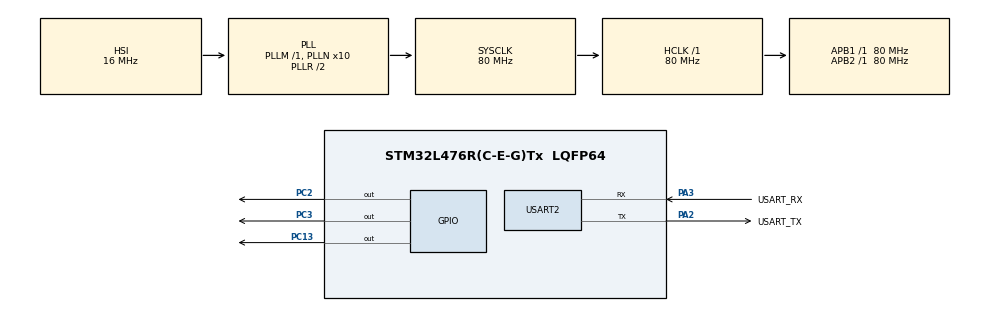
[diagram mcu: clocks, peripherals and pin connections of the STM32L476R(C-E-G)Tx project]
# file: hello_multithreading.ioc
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Mcu.Family=STM32L4
RCC.MSI_VALUE=4000000
RCC.PLLSourceVirtual=RCC_PLLSOURCE_HSI
PA14\ (JTCK-SWCLK).Mode=Serial_Wire
PA2.GPIO_PuPd=GPIO_NOPULL
VP_SYS_VS_tim6.Mode=TIM6
RCC.CortexFreq_Value=80000000
FREERTOS.Tasks01=blink0Task,24,128,StartBlink0Task,Default,NULL,Dynamic,NULL,NULL;blink1Task,24,128,StartBlink1Task,Default,NULL,Dynamic,NULL,NULL
NVIC.TIM6_DAC_IRQn=true\:0\:0\:false\:false\:true\:false\:false\:true
PH0-OSC_IN\ (PH0).Signal=RCC_OSC_IN
PC13.Signal=GPIO_Output
PA3.GPIO_PuPd=GPIO_NOPULL
PC2.Signal=GPIO_Output
PA2.GPIO_Speed=GPIO_SPEED_FREQ_VERY_HIGH
PC15-OSC32_OUT\ (PC15).Signal=RCC_OSC32_OUT
PB3\ (JTDO-TRACESWO).GPIO_Label=SWO
PA14\ (JTCK-SWCLK).GPIO_Label=TCK
PC15-OSC32_OUT\ (PC15).Mode=LSE-External-Oscillator
PA3.GPIO_Speed=GPIO_SPEED_FREQ_VERY_HIGH
PH1-OSC_OUT\ (PH1).Signal=RCC_OSC_OUT
RCC.SYSCLKSource=RCC_SYSCLKSOURCE_PLLCLK
ProjectManager.StackSize=0x400
PB3\ (JTDO-TRACESWO).Signal=SYS_JTDO-SWO
PC14-OSC32_IN\ (PC14).Mode=LSE-External-Oscillator
VP_FREERTOS_VS_CMSIS_V2.Mode=CMSIS_V2
PA14\ (JTCK-SWCLK).Signal=SYS_JTCK-SWCLK
PA3.Mode=Asynchronous
ProjectManager.TargetToolchain=STM32CubeIDE
PA3.GPIO_Mode=GPIO_MODE_AF_PP
RCC.HCLKFreq_Value=80000000
RCC.APB2TimFreq_Value=80000000
PC3.Signal=GPIO_Output
RCC.USBFreq_Value=64000000
RCC.AHBFreq_Value=80000000
RCC.PREFETCH_ENABLE=1
RCC.HSE_VALUE=8000000
board=NUCLEO-L476RG
USART2.VirtualMode-Asynchronous=VM_ASYNC
RCC.VCOOutputFreq_Value=160000000
RCC.APB2Freq_Value=80000000
PA13\ (JTMS-SWDIO).GPIO_Label=TMS
RCC.ADCFreq_Value=64000000
Mcu.Name=STM32L476R(C-E-G)Tx
PA2.Signal=USART2_TX
PA13\ (JTMS-SWDIO).Mode=Serial_Wire
RCC.SYSCLKFreq_VALUE=80000000
Mcu.Package=LQFP64
NVIC.TimeBase=TIM6_DAC_IRQn
PC14-OSC32_IN\ (PC14).Signal=RCC_OSC32_IN
PA2.GPIO_Label=USART_TX
NVIC.TimeBaseIP=TIM6
ProjectManager.HeapSize=0x200
RCC.HSI_VALUE=16000000
NVIC.PriorityGroup=NVIC_PRIORITYGROUP_4
RCC.PLLN=10
RCC.APB1TimFreq_Value=80000000
PA2.Mode=Asynchronous
PA13\ (JTMS-SWDIO).Signal=SYS_JTMS-SWDIO
RCC.APB1Freq_Value=80000000
PA3.GPIO_Label=USART_RX
PA3.Signal=USART2_RX
PA2.GPIO_Mode=GPIO_MODE_AF_PP

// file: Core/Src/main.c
/* USER CODE BEGIN Header */
/**
  ******************************************************************************
  * @file           : main.c
  * @brief          : Main program body
  ******************************************************************************
  * @attention
  *
  * <h2><center>&copy; Copyright (c) 2021 STMicroelectronics.
  * All rights reserved.</center></h2>
  *
  * This software component is licensed by ST under BSD 3-Clause license,
  * the "License"; You may not use this file except in compliance with the
  * License. You may obtain a copy of the License at:
  *                        opensource.org/licenses/BSD-3-Clause
  *
  ******************************************************************************
  */
/* USER CODE END Header */
#include "main.h"
#include "cmsis_os.h"

/* USER CODE BEGIN PTD */
#ifdef __GNUC__
  /* With GCC, small printf (option LD Linker->Libraries->Small printf
     set to 'Yes') calls __io_putchar() */
  #define PUTCHAR_PROTOTYPE int __io_putchar(int ch)
#else
  #define PUTCHAR_PROTOTYPE int fputc(int ch, FILE *f)
#endif /* __GNUC__ */
/* USER CODE END PTD */

UART_HandleTypeDef huart2;

/* Definitions for blink0Task */
osThreadId_t blink0TaskHandle;
const osThreadAttr_t blink0Task_attributes = {
  .name = "blink0Task",
  .stack_size = 128 * 4,
  .priority = (osPriority_t) osPriorityNormal,
};
/* Definitions for blink1Task */
osThreadId_t blink1TaskHandle;
const osThreadAttr_t blink1Task_attributes = {
  .name = "blink1Task",
  .stack_size = 128 * 4,
  .priority = (osPriority_t) osPriorityNormal,
};
/* USER CODE BEGIN PV */
volatile osThreadId_t blink2TaskHandle;
const osThreadAttr_t blink2Task_attributes = {
	.name = "blink2Task",
	.stack_size = 128 * 4,
	.priority = (osPriority_t) osPriorityHigh,
};
/* USER CODE END PV */

void SystemClock_Config(void);
static void MX_GPIO_Init(void);
static void MX_USART2_UART_Init(void);
void StartBlink0Task(void *argument);
void StartBlink1Task(void *argument);

/* USER CODE BEGIN PFP */
void StartBlink2Task(void *argument);
/* USER CODE END PFP */

int main(void)
{

  /* MCU Configuration--------------------------------------------------------*/

  /* Reset of all peripherals, Initializes the Flash interface and the Systick. */
  HAL_Init();

  /* Configure the system clock */
  SystemClock_Config();

  /* Initialize all configured peripherals */
  MX_GPIO_Init();
  MX_USART2_UART_Init();

  /* Init scheduler */
  osKernelInitialize();

  /* Create the thread(s) */
  /* creation of blink0Task */
  blink0TaskHandle = osThreadNew(StartBlink0Task, NULL, &blink0Task_attributes);

  /* creation of blink1Task */
  blink1TaskHandle = osThreadNew(StartBlink1Task, NULL, &blink1Task_attributes);

  /* Start scheduler */
  osKernelStart();

  /* We should never get here as control is now taken by the scheduler */
  /* Infinite loop */
  for (;;)
  {

  }
}

void SystemClock_Config(void)
{
  RCC_OscInitTypeDef RCC_OscInitStruct = {0};
  RCC_ClkInitTypeDef RCC_ClkInitStruct = {0};
  RCC_PeriphCLKInitTypeDef PeriphClkInit = {0};

  /** Initializes the RCC Oscillators according to the specified parameters
  * in the RCC_OscInitTypeDef structure.
  */
  RCC_OscInitStruct.OscillatorType = RCC_OSCILLATORTYPE_HSI;
  RCC_OscInitStruct.HSIState = RCC_HSI_ON;
  RCC_OscInitStruct.HSICalibrationValue = RCC_HSICALIBRATION_DEFAULT;
  RCC_OscInitStruct.PLL.PLLState = RCC_PLL_ON;
  RCC_OscInitStruct.PLL.PLLSource = RCC_PLLSOURCE_HSI;
  RCC_OscInitStruct.PLL.PLLM = 1;
  RCC_OscInitStruct.PLL.PLLN = 10;
  RCC_OscInitStruct.PLL.PLLP = RCC_PLLP_DIV7;
  RCC_OscInitStruct.PLL.PLLQ = RCC_PLLQ_DIV2;
  RCC_OscInitStruct.PLL.PLLR = RCC_PLLR_DIV2;
  if (HAL_RCC_OscConfig(&RCC_OscInitStruct) != HAL_OK)
  {
    Error_Handler();
  }
  /** Initializes the CPU, AHB and APB buses clocks
  */
  RCC_ClkInitStruct.ClockType = RCC_CLOCKTYPE_HCLK|RCC_CLOCKTYPE_SYSCLK
                              |RCC_CLOCKTYPE_PCLK1|RCC_CLOCKTYPE_PCLK2;
  RCC_ClkInitStruct.SYSCLKSource = RCC_SYSCLKSOURCE_PLLCLK;
  RCC_ClkInitStruct.AHBCLKDivider = RCC_SYSCLK_DIV1;
  RCC_ClkInitStruct.APB1CLKDivider = RCC_HCLK_DIV1;
  RCC_ClkInitStruct.APB2CLKDivider = RCC_HCLK_DIV1;

  if (HAL_RCC_ClockConfig(&RCC_ClkInitStruct, FLASH_LATENCY_4) != HAL_OK)
  {
    Error_Handler();
  }
  PeriphClkInit.PeriphClockSelection = RCC_PERIPHCLK_USART2;
  PeriphClkInit.Usart2ClockSelection = RCC_USART2CLKSOURCE_PCLK1;
  if (HAL_RCCEx_PeriphCLKConfig(&PeriphClkInit) != HAL_OK)
  {
    Error_Handler();
  }
  /** Configure the main internal regulator output voltage
  */
  if (HAL_PWREx_ControlVoltageScaling(PWR_REGULATOR_VOLTAGE_SCALE1) != HAL_OK)
  {
    Error_Handler();
  }
}

static void MX_USART2_UART_Init(void)
{

  huart2.Instance = USART2;
  huart2.Init.BaudRate = 115200;
  huart2.Init.WordLength = UART_WORDLENGTH_8B;
  huart2.Init.StopBits = UART_STOPBITS_1;
  huart2.Init.Parity = UART_PARITY_NONE;
  huart2.Init.Mode = UART_MODE_TX_RX;
  huart2.Init.HwFlowCtl = UART_HWCONTROL_NONE;
  huart2.Init.OverSampling = UART_OVERSAMPLING_16;
  huart2.Init.OneBitSampling = UART_ONE_BIT_SAMPLE_DISABLE;
  huart2.AdvancedInit.AdvFeatureInit = UART_ADVFEATURE_NO_INIT;
  if (HAL_UART_Init(&huart2) != HAL_OK)
  {
    Error_Handler();
  }

}

static void MX_GPIO_Init(void)
{
  GPIO_InitTypeDef GPIO_InitStruct = {0};

  /* GPIO Ports Clock Enable */
  __HAL_RCC_GPIOC_CLK_ENABLE();
  __HAL_RCC_GPIOH_CLK_ENABLE();
  __HAL_RCC_GPIOA_CLK_ENABLE();
  __HAL_RCC_GPIOB_CLK_ENABLE();

  /*Configure GPIO pin Output Level */
  HAL_GPIO_WritePin(GPIOC, GPIO_PIN_13|GPIO_PIN_2|GPIO_PIN_3, GPIO_PIN_RESET);

  /*Configure GPIO pins : PC13 PC2 PC3 */
  GPIO_InitStruct.Pin = GPIO_PIN_13|GPIO_PIN_2|GPIO_PIN_3;
  GPIO_InitStruct.Mode = GPIO_MODE_OUTPUT_PP;
  GPIO_InitStruct.Pull = GPIO_NOPULL;
  GPIO_InitStruct.Speed = GPIO_SPEED_FREQ_LOW;
  HAL_GPIO_Init(GPIOC, &GPIO_InitStruct);

}

/* USER CODE BEGIN 4 */
PUTCHAR_PROTOTYPE
{
	// override putchar
  HAL_UART_Transmit(&huart2, (uint8_t *)&ch, 1, 0xFFFF);
  return ch;
}

void StartBlink2Task(void *argument)
{
	for(;;)
	{
		HAL_GPIO_TogglePin(GPIOC, GPIO_PIN_13);
		printf("Blink2\r\n");
    //osThreadTerminate(blink2TaskHandle); // Fails because blink2TaskHandle was not properly re-defined as Blink0Task was pre-empted
    osThreadTerminate(osThreadGetId()); // osThreadGetId() gets the actual id of currently running thread
	}
}

/* USER CODE END 4 */

void StartBlink0Task(void *argument)
{
  /* USER CODE BEGIN 5 */
  uint32_t tick;
  tick = osKernelGetTickCount();
  /* Infinite loop */
  for(;;)
  {
  	blink2TaskHandle = osThreadNew(StartBlink2Task, NULL, &blink2Task_attributes); // pre-empted before blink2TaskHandle is re-defined!
    HAL_GPIO_TogglePin(GPIOC, GPIO_PIN_2);
    printf("Blink0\r\n");
    tick += 1000U;
    osDelayUntil(tick);
  }
  /* USER CODE END 5 */
}

void StartBlink1Task(void *argument)
{
  /* USER CODE BEGIN StartBlink1Task */
  uint32_t tick;
  tick = osKernelGetTickCount();
  /* Infinite loop */
  for(;;)
  {
  	HAL_GPIO_TogglePin(GPIOC, GPIO_PIN_3);
    printf("Blink1\r\n");
    tick += 500U;
    osDelayUntil(tick);  }
  /* USER CODE END StartBlink1Task */
}

 /**
  * @brief  Period elapsed callback in non blocking mode
  * @note   This function is called  when TIM6 interrupt took place, inside
  * HAL_TIM_IRQHandler(). It makes a direct call to HAL_IncTick() to increment
  * a global variable "uwTick" used as application time base.
  * @param  htim : TIM handle
  * @retval None
  */
void HAL_TIM_PeriodElapsedCallback(TIM_HandleTypeDef *htim)
{
  if (htim->Instance == TIM6) {
    HAL_IncTick();
  }
}

void Error_Handler(void)
{
  __disable_irq();
  while (1)
  {
  }
}

/************************ (C) COPYRIGHT STMicroelectronics *****END OF FILE****/
